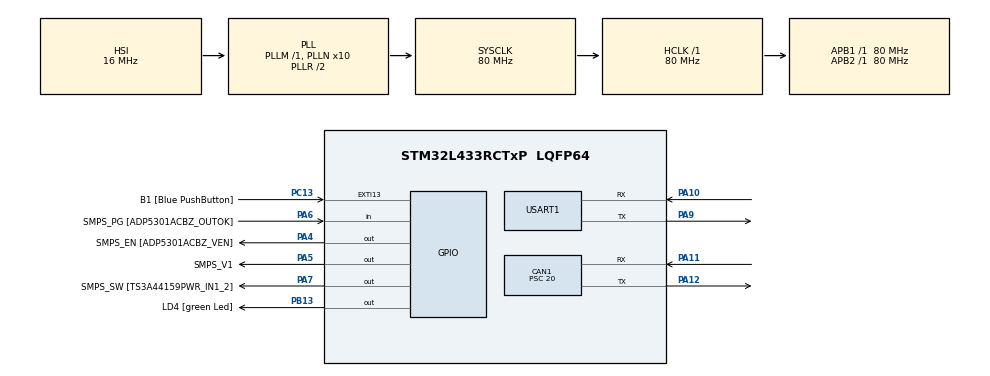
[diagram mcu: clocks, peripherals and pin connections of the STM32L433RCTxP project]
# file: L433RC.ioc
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CAN1.BS1=CAN_BS1_2TQ
CAN1.BS2=CAN_BS2_1TQ
CAN1.CalculateBaudRate=1000000
CAN1.CalculateTimeBit=1000
CAN1.CalculateTimeQuantum=250.0
CAN1.Prescaler=20
Mcu.Family=STM32L4
Mcu.Name=STM32L433RCTxP
Mcu.Package=LQFP64
NVIC.CAN1_RX0_IRQn=true\:0\:0\:false\:false\:true\:true\:true\:true
NVIC.PriorityGroup=NVIC_PRIORITYGROUP_4
PA10.Mode=Asynchronous
PA10.Signal=USART1_RX
PA11.Mode=CAN_Activate
PA11.Signal=CAN1_RX
PA12.Mode=CAN_Activate
PA12.Signal=CAN1_TX
PA13\ (JTMS-SWDIO).GPIO_Label=TMS
PA13\ (JTMS-SWDIO).Signal=SYS_JTMS-SWDIO
PA14\ (JTCK-SWCLK).GPIO_Label=TCK
PA14\ (JTCK-SWCLK).Signal=SYS_JTCK-SWCLK
PA2.GPIO_Label=USART_TX
PA2.GPIO_Mode=GPIO_MODE_AF_PP
PA2.GPIO_PuPd=GPIO_NOPULL
PA2.GPIO_Speed=GPIO_SPEED_FREQ_VERY_HIGH
PA2.Signal=USART2_TX
PA3.GPIO_Label=USART_RX
PA3.GPIO_Mode=GPIO_MODE_AF_PP
PA3.GPIO_PuPd=GPIO_NOPULL
PA3.GPIO_Speed=GPIO_SPEED_FREQ_VERY_HIGH
PA3.Signal=USART2_RX
PA4.GPIO_Label=SMPS_EN [ADP5301ACBZ_VEN]
PA4.Signal=GPIO_Output
PA5.GPIO_Label=SMPS_V1
PA5.GPIO_ModeDefaultOutputPP=GPIO_MODE_OUTPUT_PP
PA5.GPIO_PuPd=GPIO_NOPULL
PA5.GPIO_Speed=GPIO_SPEED_FREQ_LOW
PA5.Signal=GPIO_Output
PA6.GPIO_Label=SMPS_PG [ADP5301ACBZ_OUTOK]
PA6.GPIO_PuPd=GPIO_PULLUP
PA6.Signal=GPIO_Input
PA7.GPIO_Label=SMPS_SW [TS3A44159PWR_IN1_2]
PA7.Signal=GPIO_Output
PA9.Mode=Asynchronous
PA9.Signal=USART1_TX
PB13.GPIO_Label=LD4 [green Led]
PB13.Signal=GPIO_Output
PB3\ (JTDO-TRACESWO).GPIO_Label=SWO
PB3\ (JTDO-TRACESWO).Signal=SYS_JTDO-SWO
PC13.GPIO_Label=B1 [Blue PushButton]
PC13.GPIO_ModeDefaultEXTI=GPIO_MODE_IT_FALLING
PC13.GPIO_PuPd=GPIO_NOPULL
PC13.Signal=GPXTI13
PC14-OSC32_IN\ (PC14).Signal=RCC_OSC32_IN
PC15-OSC32_OUT\ (PC15).Signal=RCC_OSC32_OUT
PH0-OSC_IN\ (PH0).GPIO_Label=MCO
PH0-OSC_IN\ (PH0).Signal=RCC_OSC_IN
PH1-OSC_OUT\ (PH1).Signal=RCC_OSC_OUT
ProjectManager.HeapSize=0x200
ProjectManager.StackSize=0x400
ProjectManager.TargetToolchain=CMake
RCC.ADCFreq_Value=64000000
RCC.AHBFreq_Value=80000000
RCC.APB1Freq_Value=80000000
RCC.APB1TimFreq_Value=80000000
RCC.APB2Freq_Value=80000000
RCC.APB2TimFreq_Value=80000000
RCC.CortexFreq_Value=80000000
RCC.HCLKFreq_Value=80000000
RCC.HSE_VALUE=8000000
RCC.HSI48_VALUE=48000000
RCC.HSI_VALUE=16000000
RCC.LSE_VALUE=32768
RCC.MSI_VALUE=4000000
RCC.PLLN=10
RCC.PLLSourceVirtual=RCC_PLLSOURCE_HSI
RCC.PREFETCH_ENABLE=1
RCC.SYSCLKFreq_VALUE=80000000
RCC.SYSCLKSource=RCC_SYSCLKSOURCE_PLLCLK
RCC.USBFreq_Value=64000000
RCC.VCOOutputFreq_Value=160000000
USART1.VirtualMode-Asynchronous=VM_ASYNC
board=NUCLEO-L433RC-P

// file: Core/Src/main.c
/* USER CODE BEGIN Header */
/**
  ******************************************************************************
  * @file           : main.c
  * @brief          : Main program body
  ******************************************************************************
  * @attention
  *
  * Copyright (c) 2024 STMicroelectronics.
  * All rights reserved.
  *
  * This software is licensed under terms that can be found in the LICENSE file
  * in the root directory of this software component.
  * If no LICENSE file comes with this software, it is provided AS-IS.
  *
  ******************************************************************************
  */
/* USER CODE END Header */
#include "main.h"
#include "can.h"
#include "usart.h"
#include "gpio.h"
#include "pinecan.h"

/* USER CODE BEGIN Includes */

#include <time.h>
#include <stdio.h>
#include "dronecan_msgs.h"
#include "node_config.h"
/* USER CODE END Includes */

/* USER CODE BEGIN PTD */
extern struct uavcan_protocol_NodeStatus nodeStatus;
/* USER CODE END PTD */

/* USER CODE BEGIN PV */
static CanardInstance canard;
static uint8_t memory_pool[1024];
static struct uavcan_protocol_NodeStatus node_status;
FirmwareUpdate fwupdate;
/* USER CODE END PV */

void SystemClock_Config(void);
/* USER CODE BEGIN PFP */
static void goto_application(void);
/* USER CODE END PFP */

/* USER CODE BEGIN 0 */
#ifdef __GNUC__
int __io_putchar(int ch)
#else
int fputc(int ch, FILE *f)
#endif
{
	HAL_UART_Transmit(&huart1, (uint8_t *)&ch, 1, HAL_MAX_DELAY);
	return ch;
}
/* USER CODE END 0 */

int main(void)
{

  /* USER CODE BEGIN 1 */
	nodeStatus.health = UAVCAN_PROTOCOL_NODESTATUS_HEALTH_OK;
	nodeStatus.mode = UAVCAN_PROTOCOL_NODESTATUS_MODE_INITIALIZATION;
	nodeStatus.sub_mode = 0;
	nodeStatus.vendor_specific_status_code = 0;
  /* USER CODE END 1 */

  /* MCU Configuration--------------------------------------------------------*/

  /* Reset of all peripherals, Initializes the Flash interface and the Systick. */
  HAL_Init();

  /* Configure the system clock */
  SystemClock_Config();

  /* Initialize all configured peripherals */
  MX_GPIO_Init();
  MX_CAN1_Init();
  MX_USART1_UART_Init();
  /* USER CODE BEGIN 2 */
  printf("STARTING BOOTLOADER...");
  HAL_GPIO_WritePin(GPIOB, GPIO_PIN_13, GPIO_PIN_SET);

  initCAN();

  nodeStatus.mode = UAVCAN_PROTOCOL_NODESTATUS_MODE_OPERATIONAL;

	for(uint8_t i = 0; i < 100000000; i++){
		if(fwupdate.node_id != 0){
			break;
		}
		HAL_Delay(10);
//		printf("In Loop\n\r");
		// encorporated in pinecan1ms()??  sendCANTx()
		pinecan1ms(); //periodicCANTasks()
	}

  /* USER CODE END 2 */

  /* Infinite loop */
  while (1)
  {

    /* USER CODE BEGIN 3 */

	if(fwupdate.node_id == 0){
		goto_application();
	}else{
		sendFirmwareRead();
	}

	// sendCANTx();
	// periodicCANTasks();

  pinecan1ms();

  }
  /* USER CODE END 3 */
}

void SystemClock_Config(void)
{
  RCC_OscInitTypeDef RCC_OscInitStruct = {0};
  RCC_ClkInitTypeDef RCC_ClkInitStruct = {0};

  /** Configure the main internal regulator output voltage
  */
  if (HAL_PWREx_ControlVoltageScaling(PWR_REGULATOR_VOLTAGE_SCALE1) != HAL_OK)
  {
    Error_Handler();
  }

  /** Initializes the RCC Oscillators according to the specified parameters
  * in the RCC_OscInitTypeDef structure.
  */
  RCC_OscInitStruct.OscillatorType = RCC_OSCILLATORTYPE_HSI;
  RCC_OscInitStruct.HSIState = RCC_HSI_ON;
  RCC_OscInitStruct.HSICalibrationValue = RCC_HSICALIBRATION_DEFAULT;
  RCC_OscInitStruct.PLL.PLLState = RCC_PLL_ON;
  RCC_OscInitStruct.PLL.PLLSource = RCC_PLLSOURCE_HSI;
  RCC_OscInitStruct.PLL.PLLM = 1;
  RCC_OscInitStruct.PLL.PLLN = 10;
  RCC_OscInitStruct.PLL.PLLP = RCC_PLLP_DIV7;
  RCC_OscInitStruct.PLL.PLLQ = RCC_PLLQ_DIV2;
  RCC_OscInitStruct.PLL.PLLR = RCC_PLLR_DIV2;
  if (HAL_RCC_OscConfig(&RCC_OscInitStruct) != HAL_OK)
  {
    Error_Handler();
  }

  /** Initializes the CPU, AHB and APB buses clocks
  */
  RCC_ClkInitStruct.ClockType = RCC_CLOCKTYPE_HCLK|RCC_CLOCKTYPE_SYSCLK
                              |RCC_CLOCKTYPE_PCLK1|RCC_CLOCKTYPE_PCLK2;
  RCC_ClkInitStruct.SYSCLKSource = RCC_SYSCLKSOURCE_PLLCLK;
  RCC_ClkInitStruct.AHBCLKDivider = RCC_SYSCLK_DIV1;
  RCC_ClkInitStruct.APB1CLKDivider = RCC_HCLK_DIV1;
  RCC_ClkInitStruct.APB2CLKDivider = RCC_HCLK_DIV1;

  if (HAL_RCC_ClockConfig(&RCC_ClkInitStruct, FLASH_LATENCY_4) != HAL_OK)
  {
    Error_Handler();
  }
}

/* USER CODE BEGIN 4 */

static void goto_application(void){
	void (*app_reset_handler)(void) = (void (*)(void))(*(volatile uint32_t*)(0x08020000 + 4));
	HAL_GPIO_WritePin(GPIOB, GPIO_PIN_13, GPIO_PIN_RESET);
	HAL_Delay(1000);

	/* Reset the Clock */
	HAL_RCC_DeInit();
	HAL_DeInit();
	__disable_irq();

	__set_MSP(*(volatile uint32_t*) 0x08020000);
	SysTick->CTRL = 0;
	SysTick->LOAD = 0;
	SysTick->VAL = 0;

	SCB->VTOR = 0x08020000;

	// Disable all NVIC interrupts
	for (int i = 0; i < 8; i++) {
		NVIC->ICER[i] = 0xFFFFFFFF;
		NVIC->ICPR[i] = 0xFFFFFFFF;
	}

	__enable_irq();
	app_reset_handler();
}

/* USER CODE END 4 */

void Error_Handler(void)
{
  __disable_irq();
  while (1)
  {
  }
}
